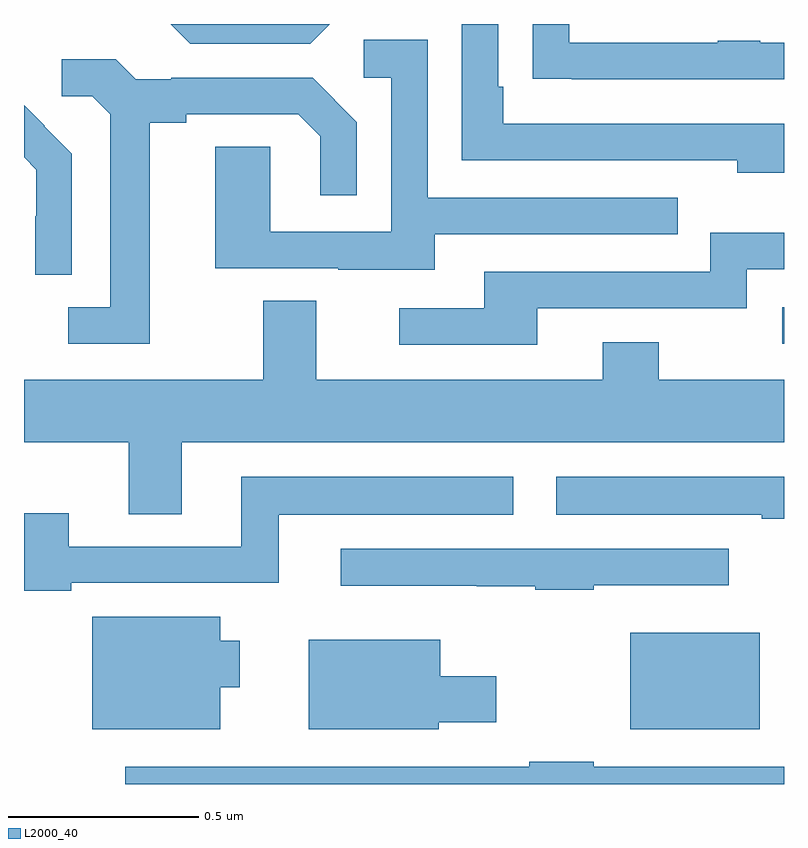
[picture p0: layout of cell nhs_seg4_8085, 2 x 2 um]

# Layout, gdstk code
import gdstk
lib = gdstk.Library(unit=1e-6, precision=1e-09)
def R(c, l, rs):  # rectangles x0, y0, x1, y1
    for r in rs: c.add(gdstk.rectangle(r[:2], r[2:], *l))
def P(c, l, *ps):  # polygons
    for p in ps: c.add(gdstk.Polygon(p, *l))
L2000_40 = (2000, 40)

nhs_seg4_8085 = lib.new_cell('nhs_seg4_8085')
R(nhs_seg4_8085, L2000_40, [(211.595,816.044,211.936,816.298), (211.995,817.059,212,817.155)])
P(nhs_seg4_8085, L2000_40, [(212,817.851),(211.937,817.851),(211.937,817.856),(211.825,817.856),(211.825,817.851),(211.435,817.851),(211.435,817.9),(211.339,817.9),(211.339,817.756),(211.441,817.756),(211.441,817.755),(212,817.755)],
  [(210.805,817.9),(210.386,817.9),(210.438,817.848),(210.753,817.848)],
  [(212,817.638),(211.261,817.638),(211.261,817.735),(211.248,817.735),(211.248,817.9),(211.152,817.9),(211.152,817.542),(211.877,817.542),(211.877,817.508),(212,817.508)],
  [(211.081,817.347),(211.721,817.347),(211.721,817.443),(211.062,817.443),(211.062,817.859),(210.894,817.859),(210.894,817.758),(210.966,817.758),(210.966,817.353),(210.648,817.353),(210.648,817.577),(210.503,817.577),(210.503,817.257),(210.827,817.257),(210.827,817.253),(211.081,817.253)],
  [(210.331,817.64),(210.427,817.64),(210.427,817.662),(210.722,817.662),(210.779,817.605),(210.779,817.449),(210.876,817.449),(210.876,817.642),(210.76,817.758),(210.388,817.758),(210.388,817.755),(210.294,817.755),(210.242,817.807),(210.099,817.807),(210.099,817.71),(210.18,817.71),(210.227,817.663),(210.227,817.155),(210.117,817.155),(210.117,817.059),(210.331,817.059)],
  [(210.126,817.558),(210.053,817.631),(210.054,817.632),(210,817.686),(210,817.549),(210.032,817.517),(210.032,817.394),(210.03,817.394),(210.03,817.24),(210.126,817.24)],
  [(211.351,817.152),(211.902,817.152),(211.902,817.254),(212,817.254),(212,817.351),(211.806,817.351),(211.806,817.248),(211.211,817.248),(211.211,817.152),(210.987,817.152),(210.987,817.056),(211.351,817.056)],
  [(210.415,816.8),(212,816.8),(212,816.964),(211.671,816.964),(211.671,817.063),(211.523,817.063),(211.523,816.964),(210.769,816.964),(210.769,817.172),(210.629,817.172),(210.629,816.964),(210,816.964),(210,816.8),(210.275,816.8),(210.275,816.61),(210.415,816.61)],
  [(210.124,816.429),(210.67,816.429),(210.67,816.608),(211.288,816.608),(211.288,816.709),(210.572,816.709),(210.572,816.525),(210.118,816.525),(210.118,816.613),(210.001,816.613),(210.001,816.409),(210.124,816.409)],
  [(212,816.709),(211.401,816.709),(211.401,816.608),(211.942,816.608),(211.942,816.598),(212,816.598)],
  [(211.499,816.423),(211.855,816.423),(211.855,816.519),(210.834,816.519),(210.834,816.422),(211.192,816.422),(211.192,816.421),(211.346,816.421),(211.346,816.411),(211.499,816.411)],
  [(210.517,816.155),(210.568,816.155),(210.568,816.277),(210.517,816.277),(210.517,816.34),(210.179,816.34),(210.179,816.044),(210.517,816.044)],
  [(211.092,816.062),(211.243,816.062),(211.243,816.184),(211.096,816.184),(211.096,816.28),(210.749,816.28),(210.749,816.044),(211.092,816.044)],
  [(212,815.946),(211.499,815.946),(211.499,815.959),(211.33,815.959),(211.33,815.946),(210.267,815.946),(210.267,815.9),(212,815.9)])

lib.write_gds('nhs_seg4_8085.gds')
